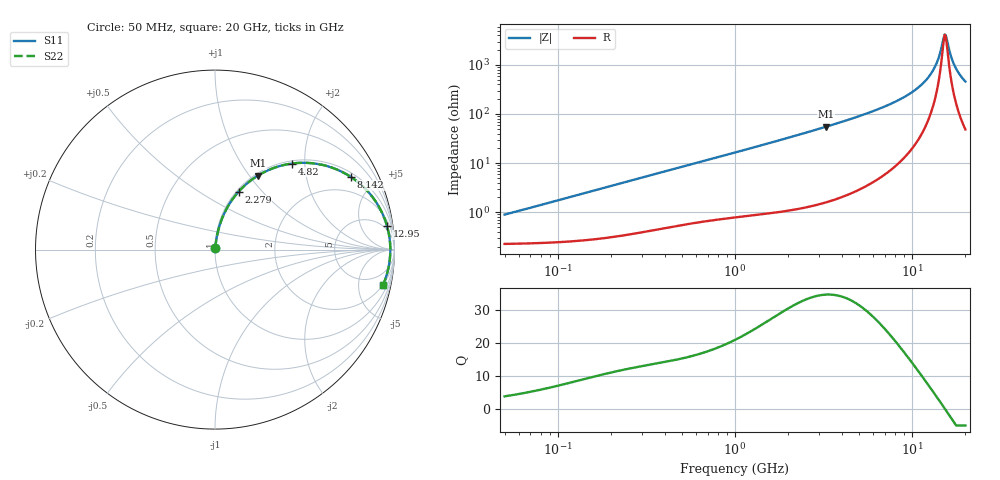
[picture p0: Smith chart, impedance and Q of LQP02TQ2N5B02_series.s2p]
!Murata Part Number: LQP02TQ2N5B02
!These Parameters are Measured in Series Mode Connection
!  o--[Z]--o
!Port1  Port2
!  o-------o
!Freq. Start=50[MHz] Stop=20[GHz], 401[Steps]
# Hz S RI R 50
!Freq.(Hz) S11(Real) S11(Imag) S21(Real) S21(Imag) S12(Real) S12(Imag) S22(Real) S22(Imag)
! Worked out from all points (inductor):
!   401 points, 50 MHz to 20 GHz, reference 50 ohm
!   read as one part in series: L = 2.76 nH near 51.52 MHz
!   highest Q = 34.7 at 3.265 GHz (marker M1), where L = 2.68 nH
!   self-resonance near 15.27 GHz
!   S11 on the Smith chart (normalised r, x): 50 MHz: 1.00, +0.02; 2.279 GHz: 1.02, +0.75; 4.82 GHz: 1.05, +1.72; 8.142 GHz: 1.18, +3.64; 12.95 GHz: 3, +14; 20 GHz: 1.97, -9.12
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5e7  0.00233 0.00862  0.9977 -0.00862  0.9977 -0.00862  0.00233 0.00862
1.364002e8  0.00319 0.0234  0.9968 -0.0234  0.9968 -0.0234  0.00319 0.0234
3.721004e8  0.00837 0.062  0.9916 -0.062  0.9916 -0.062  0.00837 0.062
1e9  0.0334 0.1573  0.9666 -0.1573  0.9666 -0.1573  0.0334 0.1573
2.279204e9  0.1315 0.3228  0.8685 -0.3228  0.8685 -0.3228  0.1315 0.3228
2.728004e9  0.1781 0.3682  0.8219 -0.3682  0.8219 -0.3682  0.1781 0.3682
3.265178e9  0.2392 0.4124  0.7608 -0.4124  0.7608 -0.4124  0.2392 0.4124
4.81993e9  0.4276 0.4794  0.5724 -0.4794  0.5724 -0.4794  0.4276 0.4794
6.034176e9  0.5662 0.478  0.4338 -0.478  0.4338 -0.478  0.5662 0.478
7.442007e9  0.7017 0.436  0.2983 -0.436  0.2983 -0.436  0.7017 0.436
8.141811e9  0.7575 0.4046  0.2425 -0.4046  0.2425 -0.4046  0.7575 0.4046
1.082228e10  0.9038 0.2547  0.0962 -0.2547  0.0962 -0.2547  0.9038 0.2547
1.201863e10  0.9402 0.1837  0.0598 -0.1837  0.0598 -0.1837  0.9402 0.1837
1.295331e10  0.9589 0.1294  0.0411 -0.1294  0.0411 -0.1294  0.9589 0.1294
1.396067e10  0.9712 0.073  0.0288 -0.073  0.0288 -0.073  0.9712 0.073
1.482269e10  0.9761 0.027  0.0239 -0.027  0.0239 -0.027  0.9761 0.027
1.527346e10  0.9769 0.00386  0.0231 -0.00386  0.0231 -0.00386  0.9769 0.00386
1.573793e10  0.9766 -0.0193  0.0234 0.0193  0.0234 0.0193  0.9766 -0.0193
1.670968e10  0.9727 -0.0654  0.0273 0.0654  0.0273 0.0654  0.9727 -0.0654
1.747767e10  0.967 -0.0997  0.033 0.0997  0.033 0.0997  0.967 -0.0997
1.88369e10  0.952 -0.1554  0.048 0.1554  0.048 0.1554  0.952 -0.1554
2e10  0.9354 -0.1983  0.0646 0.1983  0.0646 0.1983  0.9354 -0.1983
